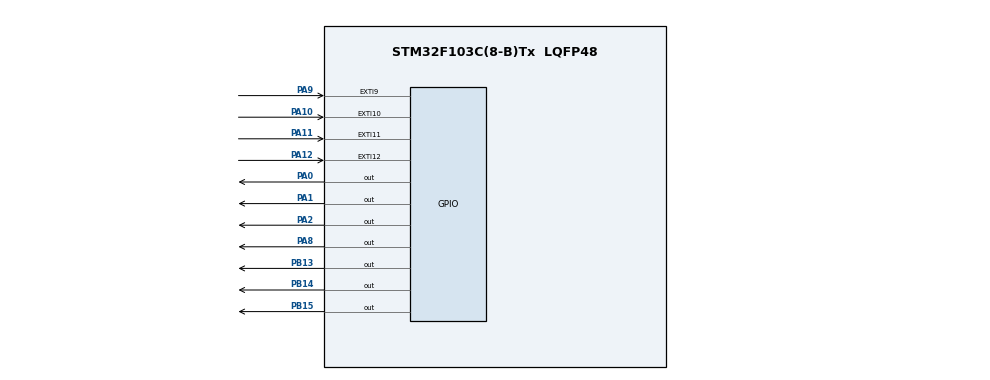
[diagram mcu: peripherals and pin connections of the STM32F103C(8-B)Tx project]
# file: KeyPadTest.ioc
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Mcu.Family=STM32F1
Mcu.Name=STM32F103C(8-B)Tx
Mcu.Package=LQFP48
NVIC.EXTI15_10_IRQn=true\:0\:0\:false\:false\:true\:true\:true\:true
NVIC.EXTI9_5_IRQn=true\:0\:0\:false\:false\:true\:true\:true\:true
NVIC.PriorityGroup=NVIC_PRIORITYGROUP_4
PA0-WKUP.Signal=GPIO_Output
PA1.Signal=GPIO_Output
PA10.Signal=GPXTI10
PA11.Signal=GPXTI11
PA12.Signal=GPXTI12
PA13.Mode=Serial_Wire
PA13.Signal=SYS_JTMS-SWDIO
PA14.Mode=Serial_Wire
PA14.Signal=SYS_JTCK-SWCLK
PA2.Signal=GPIO_Output
PA8.Signal=GPIO_Output
PA9.Signal=GPXTI9
PB13.Signal=GPIO_Output
PB14.Signal=GPIO_Output
PB15.Signal=GPIO_Output
PD0-OSC_IN.Mode=HSE-External-Oscillator
PD0-OSC_IN.Signal=RCC_OSC_IN
PD1-OSC_OUT.Mode=HSE-External-Oscillator
PD1-OSC_OUT.Signal=RCC_OSC_OUT
ProjectManager.HeapSize=0x200
ProjectManager.StackSize=0x400
ProjectManager.TargetToolchain=MDK-ARM V5.32
RCC.APB1Freq_Value=8000000
RCC.APB2Freq_Value=8000000
RCC.PLLMUL=RCC_PLL_MUL9
RCC.PLLSourceVirtual=RCC_PLLSOURCE_HSE
RCC.USBFreq_Value=72000000
board=custom

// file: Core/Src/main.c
/* USER CODE BEGIN Header */
/**
  ******************************************************************************
  * @file           : main.c
  * @brief          : Main program body
  ******************************************************************************
  * @attention
  *
  * Copyright (c) 2025 STMicroelectronics.
  * All rights reserved.
  *
  * This software is licensed under terms that can be found in the LICENSE file
  * in the root directory of this software component.
  * If no LICENSE file comes with this software, it is provided AS-IS.
  *
  ******************************************************************************
  */
/* USER CODE END Header */
#include "main.h"

/* USER CODE BEGIN Includes */
#include <stdio.h>
/* USER CODE END Includes */

/* USER CODE BEGIN PD */
// LED pins
#define LED_GREEN_PIN   GPIO_PIN_0   // PA0
#define LED_YELLOW_PIN  GPIO_PIN_1   // PA1
#define LED_RED_PIN     GPIO_PIN_2   // PA2

// Column pins
#define COL1_PIN  GPIO_PIN_13  // PB13
#define COL2_PIN  GPIO_PIN_14  // PB14
#define COL3_PIN  GPIO_PIN_15  // PB15
#define COL4_PIN  GPIO_PIN_8   // PA8

// Row pins (EXTI)
#define ROW1_PIN  GPIO_PIN_9   // PA9
#define ROW2_PIN  GPIO_PIN_10  // PA10
#define ROW3_PIN  GPIO_PIN_11  // PA11
#define ROW4_PIN  GPIO_PIN_12  // PA12
/* USER CODE END PD */

/* USER CODE BEGIN PV */
volatile char g_key = 0;
volatile uint32_t g_lastTick = 0;
/* USER CODE END PV */

void SystemClock_Config(void);
static void MX_GPIO_Init(void);
/* USER CODE BEGIN PFP */
// helpers
static inline void leds_off(void);
static inline void led_green(void);
static inline void led_yellow(void);
static inline void led_red(void);
static void columns_idle_high(void);
static void columns_all_low(void);
static char scan_key_from_row(uint16_t row_pin);
/* USER CODE END PFP */

/* USER CODE BEGIN 0 */

// Turn OFF all LEDs
static inline void leds_off(void) {
  HAL_GPIO_WritePin(GPIOA, LED_GREEN_PIN | LED_YELLOW_PIN | LED_RED_PIN, GPIO_PIN_RESET);
}
static inline void led_green(void)  { leds_off(); HAL_GPIO_WritePin(GPIOA, LED_GREEN_PIN,  GPIO_PIN_SET); }
static inline void led_yellow(void) { leds_off(); HAL_GPIO_WritePin(GPIOA, LED_YELLOW_PIN, GPIO_PIN_SET); }
static inline void led_red(void)    { leds_off(); HAL_GPIO_WritePin(GPIOA, LED_RED_PIN,    GPIO_PIN_SET); }

// Set all columns HIGH (idle)
static void columns_idle_high(void) {
  HAL_GPIO_WritePin(GPIOB, COL1_PIN | COL2_PIN | COL3_PIN, GPIO_PIN_SET);
  HAL_GPIO_WritePin(GPIOA, COL4_PIN, GPIO_PIN_SET);
}
// Set all columns LOW (for probing)
static void columns_all_low(void) {
  HAL_GPIO_WritePin(GPIOB, COL1_PIN | COL2_PIN | COL3_PIN, GPIO_PIN_RESET);
  HAL_GPIO_WritePin(GPIOA, COL4_PIN, GPIO_PIN_RESET);
}

// Return key character based on which row fired EXTI and which column is active
static char scan_key_from_row(uint16_t row_pin)
{
  // Map (row, col) to characters: standard 4x4 layout
  static const char map[4][4] = {
    { '1','2','3','A' },   // R1
    { '4','5','6','B' },   // R2
    { '7','8','9','C' },   // R3
    { '*','0','#','D' }    // R4
  };

  int row = -1;
  if (row_pin == ROW1_PIN) row = 0;
  else if (row_pin == ROW2_PIN) row = 1;
  else if (row_pin == ROW3_PIN) row = 2;
  else if (row_pin == ROW4_PIN) row = 3;
  else return 0;

  char key = 0;

  // Probe C1
  columns_all_low();
  HAL_GPIO_WritePin(GPIOB, COL1_PIN, GPIO_PIN_SET);
  HAL_Delay(1);
  if (HAL_GPIO_ReadPin(GPIOA, row_pin) == GPIO_PIN_SET) key = map[row][0];

  // Probe C2
  if (!key) {
    columns_all_low();
    HAL_GPIO_WritePin(GPIOB, COL2_PIN, GPIO_PIN_SET);
    HAL_Delay(1);
    if (HAL_GPIO_ReadPin(GPIOA, row_pin) == GPIO_PIN_SET) key = map[row][1];
  }

  // Probe C3
  if (!key) {
    columns_all_low();
    HAL_GPIO_WritePin(GPIOB, COL3_PIN, GPIO_PIN_SET);
    HAL_Delay(1);
    if (HAL_GPIO_ReadPin(GPIOA, row_pin) == GPIO_PIN_SET) key = map[row][2];
  }

  // Probe C4
  if (!key) {
    columns_all_low();
    HAL_GPIO_WritePin(GPIOA, COL4_PIN, GPIO_PIN_SET);
    HAL_Delay(1);
    if (HAL_GPIO_ReadPin(GPIOA, row_pin) == GPIO_PIN_SET) key = map[row][3];
  }

  // Restore idle
  columns_idle_high();
  return key;
}
/* USER CODE END 0 */

int main(void)
{

  /* MCU Configuration--------------------------------------------------------*/
  HAL_Init();

  /* Configure the system clock */
  SystemClock_Config();

  /* Initialize all configured peripherals */
  MX_GPIO_Init();

  /* USER CODE BEGIN 2 */
  // Columns idle HIGH
  columns_idle_high();

  // LEDs OFF initially
  leds_off();
  /* USER CODE END 2 */

  /* Infinite loop */
  while (1)
  {
    HAL_Delay(10); // work happens in EXTI callback
  }
}

void SystemClock_Config(void)
{
  RCC_OscInitTypeDef RCC_OscInitStruct = {0};
  RCC_ClkInitTypeDef RCC_ClkInitStruct = {0};

  RCC_OscInitStruct.OscillatorType = RCC_OSCILLATORTYPE_HSI;
  RCC_OscInitStruct.HSIState = RCC_HSI_ON;
  RCC_OscInitStruct.HSICalibrationValue = RCC_HSICALIBRATION_DEFAULT;
  RCC_OscInitStruct.PLL.PLLState = RCC_PLL_NONE;
  if (HAL_RCC_OscConfig(&RCC_OscInitStruct) != HAL_OK) { Error_Handler(); }

  RCC_ClkInitStruct.ClockType = RCC_CLOCKTYPE_HCLK|RCC_CLOCKTYPE_SYSCLK
                             |RCC_CLOCKTYPE_PCLK1|RCC_CLOCKTYPE_PCLK2;
  RCC_ClkInitStruct.SYSCLKSource = RCC_SYSCLKSOURCE_HSI;
  RCC_ClkInitStruct.AHBCLKDivider = RCC_SYSCLK_DIV1;
  RCC_ClkInitStruct.APB1CLKDivider = RCC_HCLK_DIV1;
  RCC_ClkInitStruct.APB2CLKDivider = RCC_HCLK_DIV1;

  if (HAL_RCC_ClockConfig(&RCC_ClkInitStruct, FLASH_LATENCY_0) != HAL_OK) { Error_Handler(); }
}

static void MX_GPIO_Init(void)
{
  GPIO_InitTypeDef GPIO_InitStruct = {0};

  /* GPIO Ports Clock Enable */
  __HAL_RCC_GPIOD_CLK_ENABLE();
  __HAL_RCC_GPIOA_CLK_ENABLE();
  __HAL_RCC_GPIOB_CLK_ENABLE();

  /* Configure LED pins: PA0, PA1, PA2 as outputs */
  HAL_GPIO_WritePin(GPIOA, GPIO_PIN_0|GPIO_PIN_1|GPIO_PIN_2|GPIO_PIN_8, GPIO_PIN_RESET);
  GPIO_InitStruct.Pin = GPIO_PIN_0|GPIO_PIN_1|GPIO_PIN_2|GPIO_PIN_8;
  GPIO_InitStruct.Mode = GPIO_MODE_OUTPUT_PP;
  GPIO_InitStruct.Pull = GPIO_NOPULL;
  GPIO_InitStruct.Speed = GPIO_SPEED_FREQ_LOW;
  HAL_GPIO_Init(GPIOA, &GPIO_InitStruct);

  /* Configure Column pins: PB13, PB14, PB15 as outputs */
  HAL_GPIO_WritePin(GPIOB, GPIO_PIN_13|GPIO_PIN_14|GPIO_PIN_15, GPIO_PIN_RESET);
  GPIO_InitStruct.Pin = GPIO_PIN_13|GPIO_PIN_14|GPIO_PIN_15;
  GPIO_InitStruct.Mode = GPIO_MODE_OUTPUT_PP;
  GPIO_InitStruct.Pull = GPIO_NOPULL;
  GPIO_InitStruct.Speed = GPIO_SPEED_FREQ_LOW;
  HAL_GPIO_Init(GPIOB, &GPIO_InitStruct);

  /* Configure Row pins: PA9, PA10, PA11, PA12 as EXTI (RISING) with **PULL-DOWN** */
  GPIO_InitStruct.Pin = GPIO_PIN_9|GPIO_PIN_10|GPIO_PIN_11|GPIO_PIN_12;
  GPIO_InitStruct.Mode = GPIO_MODE_IT_RISING;
  GPIO_InitStruct.Pull = GPIO_PULLDOWN;            // <-- important
  HAL_GPIO_Init(GPIOA, &GPIO_InitStruct);

  /* EXTI interrupt init */
  HAL_NVIC_SetPriority(EXTI9_5_IRQn, 0, 0);
  HAL_NVIC_EnableIRQ(EXTI9_5_IRQn);

  HAL_NVIC_SetPriority(EXTI15_10_IRQn, 0, 0);
  HAL_NVIC_EnableIRQ(EXTI15_10_IRQn);
}

/* USER CODE BEGIN 4 */
// EXTI callback: detect which key, then drive LEDs category
void HAL_GPIO_EXTI_Callback(uint16_t GPIO_Pin)
{
  uint32_t now = HAL_GetTick();
  if (now - g_lastTick < 12) return;   // debounce ~12 ms

  // Only handle our rows
  if (GPIO_Pin!=ROW1_PIN && GPIO_Pin!=ROW2_PIN && GPIO_Pin!=ROW3_PIN && GPIO_Pin!=ROW4_PIN)
    return;

  char key = scan_key_from_row(GPIO_Pin);
  if (key) {
    g_key = key;

    // Numbers -> GREEN, A/B/C/D -> RED, */# -> YELLOW
    if (key >= '0' && key <= '9')        led_green();
    else if (key=='A'||key=='B'||key=='C'||key=='D') led_red();
    else if (key=='*' || key=='#')       led_yellow();
    // else: ignore
  }

  g_lastTick = now;
}
/* USER CODE END 4 */

void Error_Handler(void)
{
  __disable_irq();
  while (1) { }
}
